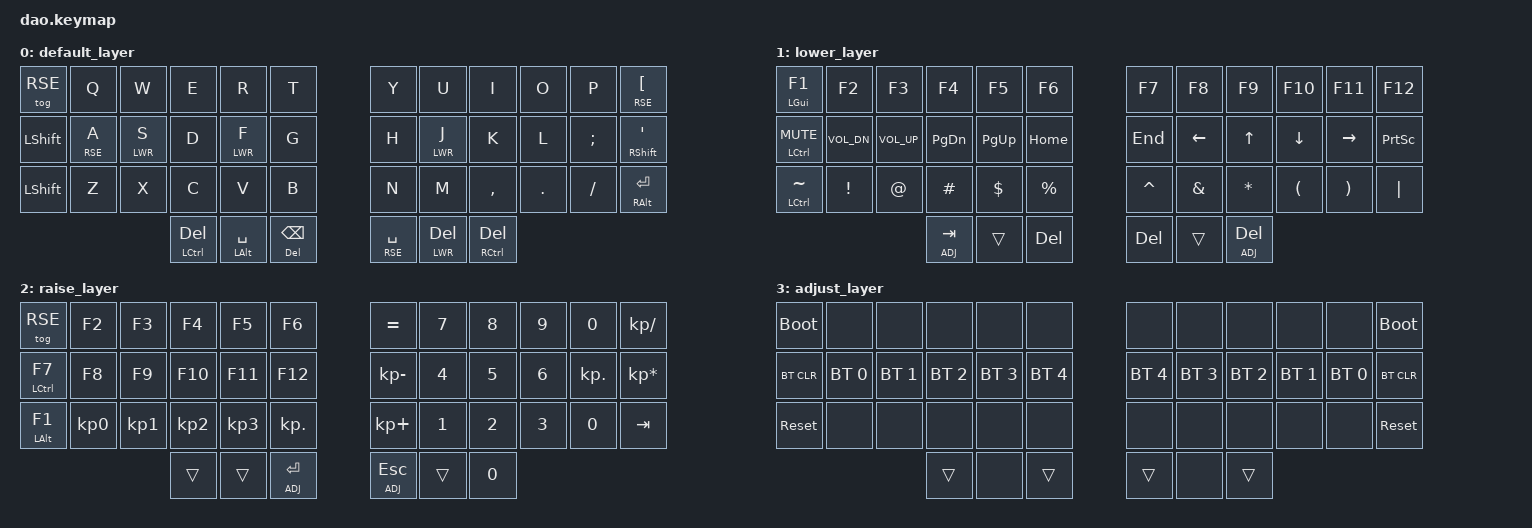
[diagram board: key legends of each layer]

/*
 * Copyright (c) 2021 Rafael Yumagulov
 *
 * SPDX-License-Identifier: MIT
 */

#include <behaviors.dtsi>
#include <dt-bindings/zmk/keys.h>
#include <dt-bindings/zmk/bt.h>

#define DEF 0
#define LWR 1
#define RSE 2
#define ADJ 3

&lt { quick_tap_ms = <400>; };
&mt { quick_tap_ms = <400>; };

/ {
    chosen {
        zmk,matrix_transform = &default_transform;
        zmk,matrix_transform = &extra_keys_transform;
    };
};


/ {
    combos {
        compatible = "zmk,combos";
        combo_GRAVE {
            timeout-ms = <50>;
            key-positions = <1 2>;
            bindings = <&kp GRAVE>;
        };
        combo_ESC {
            timeout-ms = <50>;
            key-positions = <2 3>;
            bindings = <&kp ESC>;
        };                
        combo_TAB {
            timeout-ms = <50>;
            key-positions = <3 4>;
            bindings = <&kp TAB>;
        };
        combo_LALT {
            timeout-ms = <50>;
            key-positions = <13 14>;
            bindings = <&kp LALT>;
        };
        combo_LCTRL {
            timeout-ms = <50>;
            key-positions = <14 15>;
            bindings = <&kp LCTRL>;
        };
        combo_RCTRL {
            timeout-ms = <50>;
            key-positions = <19 20>;
            bindings = <&kp RCTRL>;
        };            
        combo_RALT {
            timeout-ms = <50>;
            key-positions = <20 21>;
            bindings = <&kp RALT>;    
        };
    };
};


/ {
        keymap {
                compatible = "zmk,keymap";

                default_layer {
                        bindings = <
          &tog RSE          &kp Q       &kp W       &kp E          &kp R            &kp T            &kp Y           &kp U           &kp I          &kp O      &kp P       &lt RSE LBKT       
          &kp LSHFT         &lt RSE A   &lt LWR S   &kp D          &lt LWR F        &kp G            &kp H           &lt LWR J       &kp K          &kp L      &kp SEMI    &mt RSHFT SQT
          &kp LSHFT         &kp Z       &kp X       &kp C          &kp V            &kp B            &kp N           &kp M           &kp COMMA      &kp DOT    &kp FSLH    &mt RALT RET
                                                    &mt LCTRL DEL  &mt LALT SPACE   &mt DEL BSPC     &lt RSE SPACE   &lt LWR DEL     &mt RCTRL DEL 
                        >;
                };
                lower_layer {
                        bindings = <
          &mt LGUI F1        &kp F2        &kp F3         &kp F4        &kp F5       &kp F6           &kp F7       &kp F8       &kp F9       &kp F10      &kp F11      &kp F12           
          &mt LCTRL C_MUTE   &kp C_VOL_DN  &kp C_VOL_UP   &kp PG_DN     &kp PG_UP    &kp HOME         &kp END      &kp LEFT     &kp UP       &kp DOWN     &kp RIGHT    &kp PSCRN
          &mt LCTRL TILDE    &kp EXCL      &kp AT         &kp HASH      &kp DLLR     &kp PRCNT        &kp CARET    &kp AMPS     &kp STAR     &kp LPAR     &kp RPAR     &kp PIPE
                                                          &lt ADJ TAB   &trans       &kp DEL          &kp DEL      &trans       &lt ADJ DEL
                        >;
                };

                raise_layer {
                        bindings = <
          &tog RSE           &kp F2        &kp F3          &kp F4        &kp F5      &kp F6            &kp EQUAL       &kp N7     &kp N8    &kp N9      &kp N0           &kp KP_SLASH   
          &mt LCTRL F7       &kp F8        &kp F9          &kp F10       &kp F11     &kp F12           &kp KP_MINUS    &kp N4     &kp N5    &kp N6      &kp KP_DOT       &kp KP_MULTIPLY
          &mt LALT F1        &kp KP_N0     &kp KP_N1       &kp KP_N2     &kp KP_N3   &kp KP_DOT        &kp KP_PLUS     &kp N1     &kp N2    &kp N3      &kp N0           &kp TAB
                                                           &trans        &trans      &lt ADJ RET       &lt ADJ ESC     &trans     &kp N0
                        >;
                };
                adjust_layer {
                        bindings = <
          &bootloader   &none          &none          &none          &none          &none             &none          &none          &none          &none          &none          &bootloader
          &bt BT_CLR    &bt BT_SEL 0   &bt BT_SEL 1   &bt BT_SEL 2   &bt BT_SEL 3   &bt BT_SEL 4      &bt BT_SEL 4   &bt BT_SEL 3   &bt BT_SEL 2   &bt BT_SEL 1   &bt BT_SEL 0   &bt BT_CLR
          &sys_reset    &none          &none          &none          &none          &none             &none          &none          &none          &none          &none          &sys_reset
                                                      &trans         &none          &trans            &trans         &none          &trans
                        >;
                };
        };
};

